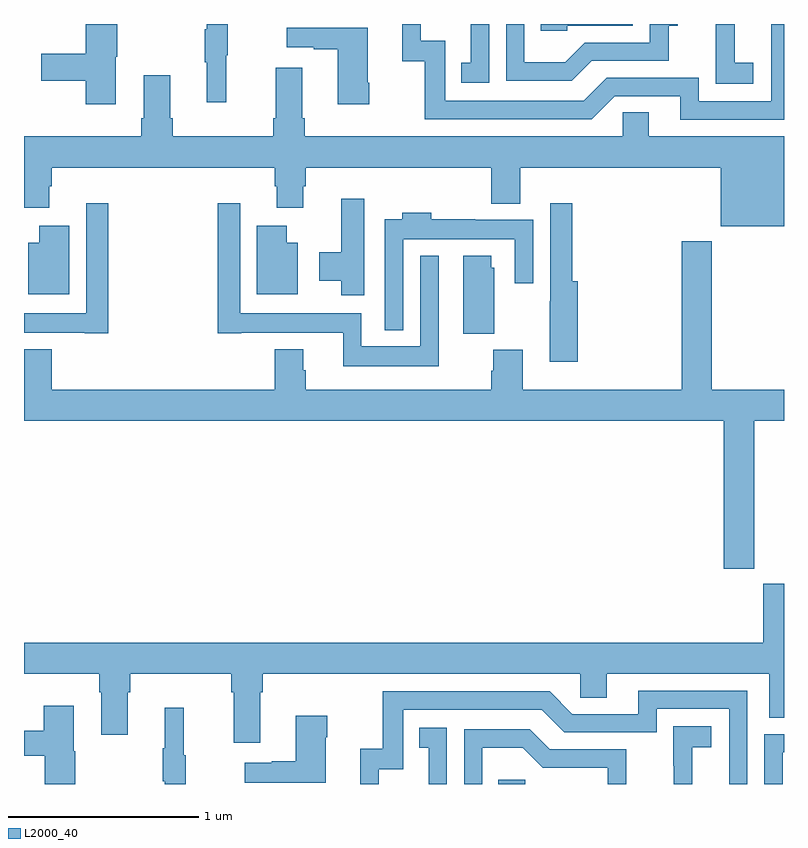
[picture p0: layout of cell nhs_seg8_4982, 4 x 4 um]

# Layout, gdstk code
import gdstk
lib = gdstk.Library(unit=1e-6, precision=1e-09)
def R(c, l, rs):  # rectangles x0, y0, x1, y1
    for r in rs: c.add(gdstk.rectangle(r[:2], r[2:], *l))
def P(c, l, *ps):  # polygons
    for p in ps: c.add(gdstk.Polygon(p, *l))
L2000_40 = (2000, 40)

nhs_seg8_4982 = lib.new_cell('nhs_seg8_4982')
R(nhs_seg8_4982, L2000_40, [(413.497,1135.9,413.637,1135.923)])
P(nhs_seg8_4982, L2000_40, [(413.989,1139.706),(414.393,1139.706),(414.393,1139.891),(414.442,1139.891),(414.442,1139.9),(414.294,1139.9),(414.294,1139.802),(413.952,1139.802),(413.848,1139.698),(413.634,1139.698),(413.634,1139.9),(413.538,1139.9),(413.538,1139.601),(413.884,1139.601)],
  [(412.064,1139.736),(412.072,1139.736),(412.072,1139.9),(411.962,1139.9),(411.962,1139.873),(411.951,1139.873),(411.951,1139.699),(411.962,1139.699),(411.962,1139.487),(412.064,1139.487)],
  [(413.448,1139.9),(413.351,1139.9),(413.351,1139.697),(413.302,1139.697),(413.302,1139.592),(413.448,1139.592)],
  [(415,1139.9),(414.933,1139.9),(414.933,1139.493),(414.552,1139.493),(414.552,1139.616),(414.066,1139.616),(413.946,1139.496),(413.217,1139.496),(413.217,1139.811),(413.088,1139.811),(413.088,1139.9),(412.991,1139.9),(412.991,1139.703),(413.109,1139.703),(413.109,1139.4),(413.988,1139.4),(414.108,1139.52),(414.455,1139.52),(414.455,1139.397),(415,1139.397)],
  [(414.838,1139.695),(414.74,1139.695),(414.74,1139.9),(414.641,1139.9),(414.641,1139.791),(414.64,1139.791),(414.64,1139.585),(414.838,1139.585)],
  [(413.859,1139.892),(414.204,1139.892),(414.204,1139.9),(413.719,1139.9),(413.719,1139.865),(413.859,1139.865)],
  [(411.484,1139.727),(411.492,1139.727),(411.492,1139.9),(411.326,1139.9),(411.326,1139.744),(411.09,1139.744),(411.09,1139.602),(411.326,1139.602),(411.326,1139.478),(411.484,1139.478)],
  [(412.818,1139.59),(412.81,1139.59),(412.81,1139.881),(412.383,1139.881),(412.383,1139.777),(412.526,1139.777),(412.526,1139.767),(412.652,1139.767),(412.652,1139.478),(412.818,1139.478)],
  [(415,1139.308),(414.289,1139.308),(414.289,1139.435),(414.15,1139.435),(414.15,1139.308),(412.478,1139.308),(412.478,1139.404),(412.465,1139.404),(412.465,1139.671),(412.325,1139.671),(412.325,1139.404),(412.313,1139.404),(412.313,1139.308),(411.782,1139.308),(411.782,1139.404),(411.769,1139.404),(411.769,1139.629),(411.629,1139.629),(411.629,1139.404),(411.617,1139.404),(411.617,1139.308),(411,1139.308),(411,1138.932),(411.133,1138.932),(411.133,1139.046),(411.146,1139.046),(411.146,1139.144),(412.319,1139.144),(412.319,1139.046),(412.331,1139.046),(412.331,1138.932),(412.471,1138.932),(412.471,1139.046),(412.484,1139.046),(412.484,1139.144),(413.459,1139.144),(413.459,1138.955),(413.611,1138.955),(413.611,1139.144),(414.668,1139.144),(414.668,1138.835),(415,1138.835)],
  [(412.792,1138.981),(412.67,1138.981),(412.67,1138.698),(412.553,1138.698),(412.553,1138.55),(412.67,1138.55),(412.67,1138.473),(412.792,1138.473)],
  [(413.182,1138.681),(413.085,1138.681),(413.085,1138.204),(412.776,1138.204),(412.776,1138.378),(412.137,1138.378),(412.137,1138.957),(412.021,1138.957),(412.021,1138.272),(412.144,1138.272),(412.144,1138.274),(412.679,1138.274),(412.679,1138.1),(413.182,1138.1)],
  [(411.443,1138.957),(411.327,1138.957),(411.327,1138.378),(411,1138.378),(411,1138.274),(411.32,1138.274),(411.32,1138.272),(411.443,1138.272)],
  [(413.915,1138.546),(413.885,1138.546),(413.885,1138.957),(413.769,1138.957),(413.769,1138.442),(413.768,1138.442),(413.768,1138.122),(413.915,1138.122)],
  [(412.995,1138.766),(413.583,1138.766),(413.583,1138.536),(413.679,1138.536),(413.679,1138.87),(413.375,1138.87),(413.375,1138.873),(413.144,1138.873),(413.144,1138.906),(412.991,1138.906),(412.991,1138.873),(412.899,1138.873),(412.899,1138.289),(412.995,1138.289)],
  [(411.238,1138.837),(411.08,1138.837),(411.08,1138.75),(411.023,1138.75),(411.023,1138.478),(411.238,1138.478)],
  [(412.441,1138.75),(412.384,1138.75),(412.384,1138.837),(412.226,1138.837),(412.226,1138.478),(412.441,1138.478)],
  [(414.843,1137.812),(415,1137.812),(415,1137.976),(414.621,1137.976),(414.621,1138.756),(414.461,1138.756),(414.461,1137.976),(413.624,1137.976),(413.624,1138.185),(413.471,1138.185),(413.471,1138.076),(413.459,1138.076),(413.459,1137.976),(412.484,1137.976),(412.484,1138.077),(412.471,1138.077),(412.471,1138.189),(412.319,1138.189),(412.319,1137.976),(411.146,1137.976),(411.146,1138.189),(411,1138.189),(411,1137.812),(414.683,1137.812),(414.683,1137.033),(414.843,1137.033)],
  [(413.476,1138.617),(413.458,1138.617),(413.458,1138.681),(413.312,1138.681),(413.312,1138.27),(413.476,1138.27)],
  [(412.243,1136.384),(412.256,1136.384),(412.256,1136.48),(413.928,1136.48),(413.928,1136.353),(414.067,1136.353),(414.067,1136.48),(414.923,1136.48),(414.923,1136.248),(415,1136.248),(415,1136.953),(414.89,1136.953),(414.89,1136.644),(411,1136.644),(411,1136.48),(411.395,1136.48),(411.395,1136.384),(411.407,1136.384),(411.407,1136.16),(411.547,1136.16),(411.547,1136.384),(411.56,1136.384),(411.56,1136.48),(412.091,1136.48),(412.091,1136.384),(412.103,1136.384),(412.103,1136.118),(412.243,1136.118)],
  [(412.866,1135.977),(412.995,1135.977),(412.995,1136.292),(413.724,1136.292),(413.844,1136.172),(414.33,1136.172),(414.33,1136.295),(414.711,1136.295),(414.711,1135.9),(414.807,1135.9),(414.807,1136.391),(414.233,1136.391),(414.233,1136.268),(413.886,1136.268),(413.766,1136.388),(412.887,1136.388),(412.887,1136.086),(412.769,1136.086),(412.769,1135.9),(412.866,1135.9)],
  [(411.27,1136.073),(411.262,1136.073),(411.262,1136.311),(411.104,1136.311),(411.104,1136.179),(411,1136.179),(411,1136.05),(411.109,1136.05),(411.109,1135.9),(411.27,1135.9)],
  [(411.85,1136.052),(411.842,1136.052),(411.842,1136.302),(411.74,1136.302),(411.74,1136.089),(411.729,1136.089),(411.729,1135.915),(411.74,1135.915),(411.74,1135.9),(411.85,1135.9)],
  [(412.588,1136.147),(412.596,1136.147),(412.596,1136.26),(412.43,1136.26),(412.43,1136.021),(412.304,1136.021),(412.304,1136.011),(412.161,1136.011),(412.161,1135.907),(412.588,1135.907)],
  [(414.518,1136.093),(414.616,1136.093),(414.616,1136.203),(414.418,1136.203),(414.418,1135.997),(414.419,1135.997),(414.419,1135.9),(414.518,1135.9)],
  [(413.226,1136.197),(413.08,1136.197),(413.08,1136.091),(413.129,1136.091),(413.129,1135.9),(413.226,1135.9)],
  [(413.412,1136.09),(413.626,1136.09),(413.73,1135.986),(414.072,1135.986),(414.072,1135.9),(414.171,1135.9),(414.171,1136.082),(413.767,1136.082),(413.662,1136.187),(413.316,1136.187),(413.316,1135.9),(413.412,1135.9)],
  [(414.993,1136.067),(415,1136.067),(415,1136.163),(414.897,1136.163),(414.897,1135.9),(414.993,1135.9)])

lib.write_gds('nhs_seg8_4982.gds')
